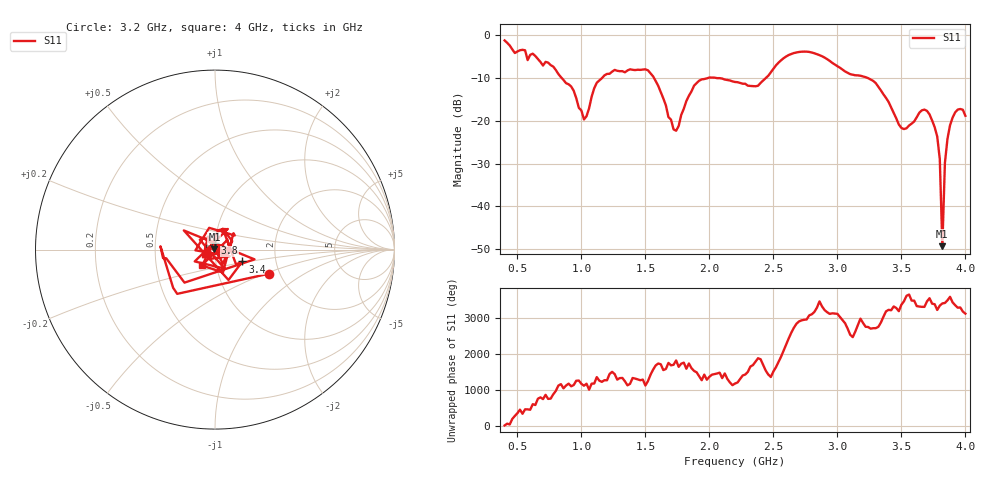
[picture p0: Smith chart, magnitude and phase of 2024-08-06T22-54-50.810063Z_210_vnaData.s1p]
!Created with skrf (http://scikit-rf.org).
# Hz S RI R 50.0
!freq ReS11 ImS11
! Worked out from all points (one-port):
!   181 points, 400 MHz to 4 GHz, reference 50 ohm
!   lowest |S11| = -49.3 dB at 3.82 GHz (marker M1), VSWR 1.01, Z = 49.7 + j0.149 ohm
!   |S11| at or under -10 dB: 1.568 GHz to 1.987 GHz (419.3 MHz wide, 23.6 % of centre); 2.058 GHz to 2.441 GHz (383.3 MHz wide, 17 % of centre); 3.239 GHz to end of sweep (the widest 3 of 4)
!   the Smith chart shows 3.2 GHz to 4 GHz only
!   S11 on the Smith chart (normalised r, x): 3.2 GHz: 1.77, -0.53; 3.4 GHz: 1.35, -0.18; 3.8 GHz: 1.00, +0.07; 4 GHz: 0.85, -0.15
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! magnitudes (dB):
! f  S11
! 400 MHz  -1.2
! 860 MHz  -10.4
! 940 MHz  -13.0
! 1.02 GHz  -19.7
! 1.12 GHz  -11.1
! 1.3 GHz  -8.4
! 1.52 GHz  -8.2
! 1.6 GHz  -11.8
! 1.72 GHz  -22.0
! 1.76 GHz  -21.2
! 1.82 GHz  -15.4
! 1.92 GHz  -10.6
! 2.2 GHz  -10.9
! 2.38 GHz  -11.8
! 2.66 GHz  -4.1
! 3.1 GHz  -9.1
! 3.2 GHz  -9.6
! 3.4 GHz  -15.6
! 3.5 GHz  -21.7
! 3.56 GHz  -21.1
! 3.7 GHz  -17.7
! 3.78 GHz  -23.7
! 3.8 GHz  -29.0
! 3.82 GHz  -49.3
! 3.84 GHz  -29.8
! 3.86 GHz  -24.2
! 3.92 GHz  -18.0
! 4 GHz  -18.8
